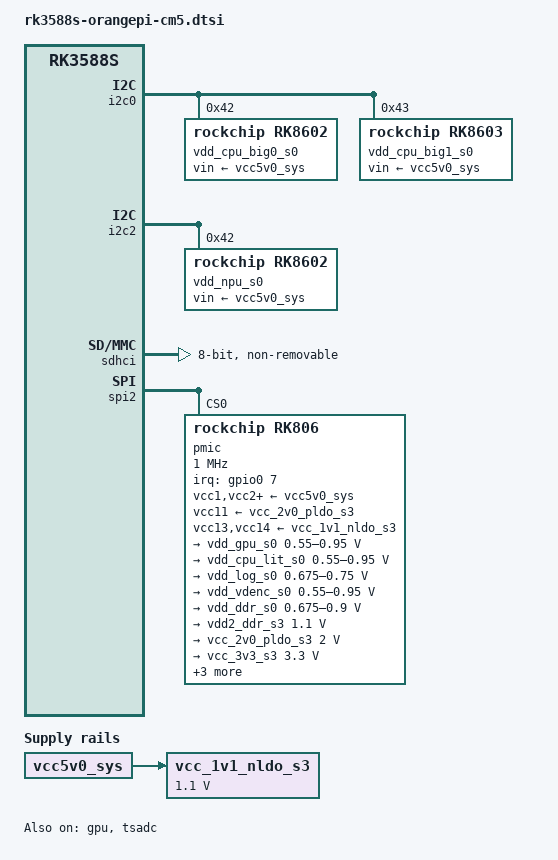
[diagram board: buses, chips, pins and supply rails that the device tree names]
// SPDX-License-Identifier: (GPL-2.0+ OR MIT)

/dts-v1/;

#include <dt-bindings/clock/rockchip,rk3588-cru.h>
#include <dt-bindings/interrupt-controller/irq.h>

#include "rk3588s.dtsi"
#include "rk8xx.h"

/ {
	aliases {
		mmc0 = &sdhci;
	};

	/* Can't be verified due to missing schematics for the CM5. */
	vcc_1v1_nldo_s3: regulator-vcc-1v1-nldo-s3 {
		compatible = "regulator-fixed";
		regulator-name = "vcc_1v1_nldo_s3";
		regulator-always-on;
		regulator-boot-on;
		regulator-min-microvolt = <1100000>;
		regulator-max-microvolt = <1100000>;
		vin-supply = <&vcc5v0_sys>;
	};
};

&cpu_b0 {
	cpu-supply = <&vdd_cpu_big0_s0>;
};

&cpu_b1 {
	cpu-supply = <&vdd_cpu_big0_s0>;
};

&cpu_b2 {
	cpu-supply = <&vdd_cpu_big1_s0>;
};

&cpu_b3 {
	cpu-supply = <&vdd_cpu_big1_s0>;
};

&cpu_l0 {
	cpu-supply = <&vdd_cpu_lit_s0>;
};

&cpu_l1 {
	cpu-supply = <&vdd_cpu_lit_s0>;
};

&cpu_l2 {
	cpu-supply = <&vdd_cpu_lit_s0>;
};

&cpu_l3 {
	cpu-supply = <&vdd_cpu_lit_s0>;
};

&gpu {
	mali-supply = <&vdd_gpu_s0>;
	status = "okay";
};

&i2c0 {
	pinctrl-0 = <&i2c0m2_xfer>;
	status = "okay";

	vdd_cpu_big0_s0: regulator@42 {
		compatible = "rockchip,rk8602";
		reg = <0x42>;
		fcs,suspend-voltage-selector = <1>;
		regulator-name = "vdd_cpu_big0_s0";
		regulator-always-on;
		regulator-boot-on;
		regulator-min-microvolt = <550000>;
		regulator-max-microvolt = <1050000>;
		regulator-ramp-delay = <2300>;
		vin-supply = <&vcc5v0_sys>;

		regulator-state-mem {
			regulator-off-in-suspend;
		};
	};

	vdd_cpu_big1_s0: regulator@43 {
		compatible = "rockchip,rk8603", "rockchip,rk8602";
		reg = <0x43>;
		fcs,suspend-voltage-selector = <1>;
		regulator-name = "vdd_cpu_big1_s0";
		regulator-always-on;
		regulator-boot-on;
		regulator-min-microvolt = <550000>;
		regulator-max-microvolt = <1050000>;
		regulator-ramp-delay = <2300>;
		vin-supply = <&vcc5v0_sys>;

		regulator-state-mem {
			regulator-off-in-suspend;
		};
	};
};

&i2c2 {
	status = "okay";

	vdd_npu_s0: regulator@42 {
		compatible = "rockchip,rk8602";
		reg = <0x42>;
		fcs,suspend-voltage-selector = <1>;
		regulator-name = "vdd_npu_s0";
		regulator-always-on;
		regulator-boot-on;
		regulator-min-microvolt = <550000>;
		regulator-max-microvolt = <950000>;
		regulator-ramp-delay = <2300>;
		vin-supply = <&vcc5v0_sys>;

		regulator-state-mem {
			regulator-off-in-suspend;
		};
	};
};

&pd_gpu {
	domain-supply = <&vdd_gpu_s0>;
};

&sdhci {
	bus-width = <8>;
	no-sdio;
	no-sd;
	non-removable;
	max-frequency = <200000000>;
	mmc-hs400-1_8v;
	mmc-hs400-enhanced-strobe;
	status = "okay";
};

&spi2 {
	assigned-clocks = <&cru CLK_SPI2>;
	assigned-clock-rates = <200000000>;
	num-cs = <1>;
	pinctrl-0 = <&spi2m2_cs0 &spi2m2_pins>;
	status = "okay";

	pmic@0 {
		compatible = "rockchip,rk806";
		reg = <0x0>;
		interrupt-parent = <&gpio0>;
		interrupts = <7 IRQ_TYPE_LEVEL_LOW>;
		gpio-controller;
		#gpio-cells = <2>;
		pinctrl-names = "default";
		pinctrl-0 = <&pmic_pins>, <&rk806_dvs1_null>,
			    <&rk806_dvs2_null>, <&rk806_dvs3_null>;
		spi-max-frequency = <1000000>;
		system-power-controller;
		rockchip,reset-mode = <RK806_RESET>;

		vcc1-supply = <&vcc5v0_sys>;
		vcc2-supply = <&vcc5v0_sys>;
		vcc3-supply = <&vcc5v0_sys>;
		vcc4-supply = <&vcc5v0_sys>;
		vcc5-supply = <&vcc5v0_sys>;
		vcc6-supply = <&vcc5v0_sys>;
		vcc7-supply = <&vcc5v0_sys>;
		vcc8-supply = <&vcc5v0_sys>;
		vcc9-supply = <&vcc5v0_sys>;
		vcc10-supply = <&vcc5v0_sys>;
		vcc11-supply = <&vcc_2v0_pldo_s3>;
		vcc12-supply = <&vcc5v0_sys>;
		vcc13-supply = <&vcc_1v1_nldo_s3>;
		vcc14-supply = <&vcc_1v1_nldo_s3>;
		vcca-supply = <&vcc5v0_sys>;

		rk806_dvs1_null: dvs1-null-pins {
			pins = "gpio_pwrctrl1";
			function = "pin_fun0";
		};

		rk806_dvs2_null: dvs2-null-pins {
			pins = "gpio_pwrctrl2";
			function = "pin_fun0";
		};

		rk806_dvs3_null: dvs3-null-pins {
			pins = "gpio_pwrctrl3";
			function = "pin_fun0";
		};

		regulators {
			vdd_gpu_s0: dcdc-reg1 {
				regulator-name = "vdd_gpu_s0";
				regulator-boot-on;
				regulator-min-microvolt = <550000>;
				regulator-max-microvolt = <950000>;
				regulator-ramp-delay = <12500>;
				regulator-enable-ramp-delay = <400>;

				regulator-state-mem {
					regulator-off-in-suspend;
				};
			};

			vdd_cpu_lit_s0: dcdc-reg2 {
				regulator-name = "vdd_cpu_lit_s0";
				regulator-always-on;
				regulator-boot-on;
				regulator-min-microvolt = <550000>;
				regulator-max-microvolt = <950000>;
				regulator-ramp-delay = <12500>;

				regulator-state-mem {
					regulator-off-in-suspend;
				};
			};

			vdd_log_s0: dcdc-reg3 {
				regulator-name = "vdd_log_s0";
				regulator-always-on;
				regulator-boot-on;
				regulator-min-microvolt = <675000>;
				regulator-max-microvolt = <750000>;
				regulator-ramp-delay = <12500>;

				regulator-state-mem {
					regulator-off-in-suspend;
					regulator-suspend-microvolt = <750000>;
				};
			};

			vdd_vdenc_s0: dcdc-reg4 {
				regulator-name = "vdd_vdenc_s0";
				regulator-always-on;
				regulator-boot-on;
				regulator-min-microvolt = <550000>;
				regulator-max-microvolt = <950000>;
				regulator-ramp-delay = <12500>;

				regulator-state-mem {
					regulator-off-in-suspend;
				};
			};

			vdd_ddr_s0: dcdc-reg5 {
				regulator-name = "vdd_ddr_s0";
				regulator-always-on;
				regulator-boot-on;
				regulator-min-microvolt = <675000>;
				regulator-max-microvolt = <900000>;
				regulator-ramp-delay = <12500>;

				regulator-state-mem {
					regulator-off-in-suspend;
					regulator-suspend-microvolt = <850000>;
				};
			};

			vdd2_ddr_s3: dcdc-reg6 {
				regulator-name = "vdd2_ddr_s3";
				regulator-always-on;
				regulator-boot-on;
				regulator-max-microvolt = <1100000>;
				regulator-min-microvolt = <1100000>;

				regulator-state-mem {
					regulator-on-in-suspend;
				};
			};

			vcc_2v0_pldo_s3: dcdc-reg7 {
				regulator-name = "vdd_2v0_pldo_s3";
				regulator-always-on;
				regulator-boot-on;
				regulator-min-microvolt = <2000000>;
				regulator-max-microvolt = <2000000>;

				regulator-state-mem {
					regulator-on-in-suspend;
					regulator-suspend-microvolt = <2000000>;
				};
			};

			vcc_3v3_s3: dcdc-reg8 {
				regulator-name = "vcc_3v3_s3";
				regulator-always-on;
				regulator-boot-on;
				regulator-min-microvolt = <3300000>;
				regulator-max-microvolt = <3300000>;

				regulator-state-mem {
					regulator-on-in-suspend;
					regulator-suspend-microvolt = <3300000>;
				};
			};

			vddq_ddr_s0: dcdc-reg9 {
				regulator-name = "vddq_ddr_s0";
				regulator-always-on;
				regulator-boot-on;

				regulator-state-mem {
					regulator-off-in-suspend;
				};
			};

			vcc_1v8_s3: dcdc-reg10 {
				regulator-name = "vcc_1v8_s3";
				regulator-always-on;
				regulator-boot-on;
				regulator-min-microvolt = <1800000>;
				regulator-max-microvolt = <1800000>;

				regulator-state-mem {
					regulator-on-in-suspend;
					regulator-suspend-microvolt = <1800000>;
				};
			};

			avcc_1v8_s0: pldo-reg1 {
				regulator-name = "avcc_1v8_s0";
				regulator-always-on;
				regulator-boot-on;
				regulator-min-microvolt = <1800000>;
				regulator-max-microvolt = <1800000>;

				regulator-state-mem {
					regulator-off-in-suspend;
				};
			};

			vcc_1v8_s0: pldo-reg2 {
				regulator-name = "vcc_1v8_s0";
				regulator-always-on;
				regulator-boot-on;
				regulator-min-microvolt = <1800000>;
				regulator-max-microvolt = <1800000>;

				regulator-state-mem {
					regulator-off-in-suspend;
					regulator-suspend-microvolt = <1800000>;
				};
			};

			avdd_1v2_s0: pldo-reg3 {
				regulator-name = "avdd_1v2_s0";
				regulator-always-on;
				regulator-boot-on;
				regulator-min-microvolt = <1200000>;
				regulator-max-microvolt = <1200000>;

				regulator-state-mem {
					regulator-off-in-suspend;
				};
			};

			vcc_3v3_s0: pldo-reg4 {
				regulator-name = "vcc_3v3_s0";
				regulator-always-on;
				regulator-boot-on;
				regulator-min-microvolt = <3300000>;
				regulator-max-microvolt = <3300000>;

				regulator-state-mem {
					regulator-off-in-suspend;
				};
			};

			vccio_sd_s0: pldo-reg5 {
				regulator-name = "vccio_sd_s0";
				regulator-always-on;
				regulator-boot-on;
				regulator-min-microvolt = <1800000>;
				regulator-max-microvolt = <3300000>;

				regulator-state-mem {
					regulator-off-in-suspend;
				};
			};

			pldo6_s3: pldo-reg6 {
				regulator-name = "pldo6_s3";
				regulator-always-on;
				regulator-boot-on;
				regulator-min-microvolt = <1800000>;
				regulator-max-microvolt = <1800000>;

				regulator-state-mem {
					regulator-on-in-suspend;
					regulator-suspend-microvolt = <1800000>;
				};
			};

			vdd_0v75_s3: nldo-reg1 {
				regulator-name = "vdd_0v75_s3";
				regulator-always-on;
				regulator-boot-on;
				regulator-min-microvolt = <750000>;
				regulator-max-microvolt = <750000>;

				regulator-state-mem {
					regulator-on-in-suspend;
					regulator-suspend-microvolt = <750000>;
				};
			};

			vdd_ddr_pll_s0: nldo-reg2 {
				regulator-name = "vdd_ddr_pll_s0";
				regulator-always-on;
				regulator-boot-on;
				regulator-min-microvolt = <850000>;
				regulator-max-microvolt = <850000>;

				regulator-state-mem {
					regulator-off-in-suspend;
					regulator-suspend-microvolt = <850000>;
				};
			};

			avdd_0v75_s0: nldo-reg3 {
				regulator-name = "avdd_0v75_s0";
				regulator-always-on;
				regulator-boot-on;
				regulator-min-microvolt = <750000>;
				regulator-max-microvolt = <750000>;

				regulator-state-mem {
					regulator-off-in-suspend;
				};
			};

			vdd_0v85_s0: nldo-reg4 {
				regulator-name = "vdd_0v85_s0";
				regulator-always-on;
				regulator-boot-on;
				regulator-min-microvolt = <850000>;
				regulator-max-microvolt = <850000>;

				regulator-state-mem {
					regulator-off-in-suspend;
				};
			};

			vdd_0v75_s0: nldo-reg5 {
				regulator-name = "vdd_0v75_s0";
				regulator-always-on;
				regulator-boot-on;
				regulator-min-microvolt = <750000>;
				regulator-max-microvolt = <750000>;

				regulator-state-mem {
					regulator-off-in-suspend;
				};
			};
		};
	};
};

&tsadc {
	/*
	 * The TSADC_SHUT pin is exposed to carrier boards as a signal named
	 * PMIC_RESET_L, meant to be driven externally. Reference carrier
	 * boards connect it to a reset button that pulls the signal to GND
	 * through a 100Ω resistor. This is too weak to overcome even the
	 * minimum drive strength of the TSADC_SHUT pin when driven in
	 * push-pull mode. Configure it as a GPIO, reset will be generated
	 * through the CRU.
	 */
	pinctrl-0 = <&tsadc_gpio_func>;
	status = "okay";
};
